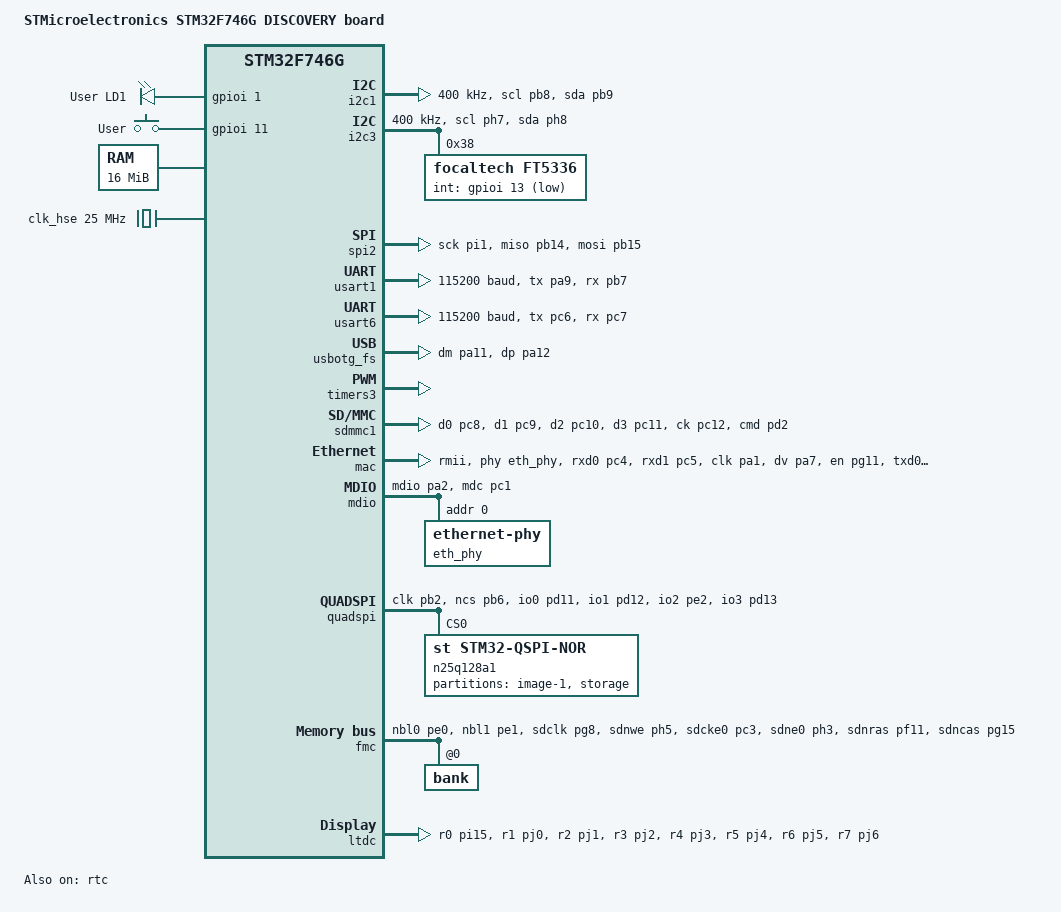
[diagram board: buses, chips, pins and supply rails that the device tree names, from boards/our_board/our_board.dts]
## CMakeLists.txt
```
cmake_minimum_required(VERSION 3.20.0)

list(APPEND BOARD_ROOT ${CMAKE_CURRENT_SOURCE_DIR})
find_package(Zephyr REQUIRED)
project(my_zephyr_app)

target_include_directories(app PRIVATE ${CMAKE_CURRENT_SOURCE_DIR}/include)

target_sources(app PRIVATE src/main.cpp)
add_subdirectory(drivers/our_driver)
```

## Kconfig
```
menuconfig APP_HEARTBEAT_PERIOD_MS
    int "Heartbeat LED"
    range 100 2000
    default 2000


source "Kconfig.zephyr"

rsource "drivers/our_driver/Kconfig"
```

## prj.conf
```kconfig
CONFIG_GPIO=y
CONFIG_LOG=y
CONFIG_OUR_DRIVER=y
CONFIG_SHELL=y
```

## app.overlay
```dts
/{

    aliases 
    { 
        app-led = &green_led_1; // using stm32f746g_disco board
    };

    our_driver0: our_driver 
    {
        compatible = "our,driver";
        status = "okay"; // using stm32f746g_disco board
        led-gpios = <&gpioi 1 GPIO_ACTIVE_HIGH>;    
    };

};
```

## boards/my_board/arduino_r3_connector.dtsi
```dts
/*
 * Copyright (c) 2020 Marco Peter
 *
 * SPDX-License-Identifier: Apache-2.0
 */

#include <zephyr/dt-bindings/gpio/arduino-header-r3.h>

/ {
	arduino_header: connector {
		compatible = "arduino-header-r3";
		#gpio-cells = <2>;
		gpio-map-mask = <0xffffffff 0xffffffc0>;
		gpio-map-pass-thru = <0 0x3f>;
		gpio-map = <ARDUINO_HEADER_R3_A0 0 &gpioa 0 0>,
			   <ARDUINO_HEADER_R3_A1 0 &gpiof 10 0>,
			   <ARDUINO_HEADER_R3_A2 0 &gpiof 9 0>,
			   <ARDUINO_HEADER_R3_A3 0 &gpiof 8 0>,
			   <ARDUINO_HEADER_R3_A4 0 &gpiof 7 0>,
			   <ARDUINO_HEADER_R3_A5 0 &gpiof 6 0>,
			   <ARDUINO_HEADER_R3_D0 0 &gpioc 7 0>,
			   <ARDUINO_HEADER_R3_D1 0 &gpioc 6 0>,
			   <ARDUINO_HEADER_R3_D2 0 &gpiog 6 0>,
			   <ARDUINO_HEADER_R3_D3 0 &gpiob 4 0>,
			   <ARDUINO_HEADER_R3_D4 0 &gpiog 7 0>,
			   <ARDUINO_HEADER_R3_D5 0 &gpioi 0 0>,
			   <ARDUINO_HEADER_R3_D6 0 &gpioh 6 0>,
			   <ARDUINO_HEADER_R3_D7 0 &gpioi 3 0>,
			   <ARDUINO_HEADER_R3_D8 0 &gpioi 2 0>,
			   <ARDUINO_HEADER_R3_D9 0 &gpioa 15 0>,
			   <ARDUINO_HEADER_R3_D10 0 &gpioa 8 0>,
			   <ARDUINO_HEADER_R3_D11 0 &gpiob 15 0>,
			   <ARDUINO_HEADER_R3_D12 0 &gpiob 14 0>,
			   <ARDUINO_HEADER_R3_D13 0 &gpioi 1 0>,
			   <ARDUINO_HEADER_R3_D14 0 &gpiob 9 0>,
			   <ARDUINO_HEADER_R3_D15 0 &gpiob 8 0>;
	};
};

// arduino_i2c: &i2c1 {};

// arduino_spi: &spi2 {};

arduino_serial: &usart6 {};
```

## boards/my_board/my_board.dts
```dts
/dts-v1/;
#include <st/f7/stm32f746Xg.dtsi>
#include <st/f7/stm32f746nghx-pinctrl.dtsi>
#include "arduino_r3_connector.dtsi"

/{
	model = "My board";
	compatible = "iomico,my_board";

	chosen {
		zephyr,console = &usart1;
		zephyr,sram = &sram0;
		zephyr,flash = &flash0;
		zephyr,flash-controller = &n25q128a1;


	};

	leds {
		compatible = "gpio-leds";

		green_led_1: led_1 {
			gpios = <&gpioi 1 GPIO_ACTIVE_HIGH>;
			label = "User LD1";
		};
	};

	aliases {
		led0 = &green_led_1;
	};

};


&usart1 {
	pinctrl-0 = <&usart1_tx_pa9 &usart1_rx_pb7>;
	pinctrl-names = "default";
	current-speed = <115200>;
	status = "okay";
};

&clk_hse {
	clock-frequency = <DT_FREQ_M(25)>;
	status = "okay";
};

&pll {
	div-m = <25>;
	mul-n = <432>;
	div-p = <2>;
	div-q = <9>;
	clocks = <&clk_hse>;
	status = "okay";
};

&rcc {
	clocks = <&pll>;
	clock-frequency = <DT_FREQ_M(216)>;
	ahb-prescaler = <1>;
	apb1-prescaler = <4>;
	apb2-prescaler = <2>;
};

&quadspi {
	pinctrl-0 = <&quadspi_clk_pb2 &quadspi_bk1_ncs_pb6
		     &quadspi_bk1_io0_pd11 &quadspi_bk1_io1_pd12
		     &quadspi_bk1_io2_pe2 &quadspi_bk1_io3_pd13>;
	pinctrl-names = "default";
	status = "okay";

	n25q128a1: qspi-nor-flash@0 {
		compatible = "st,stm32-qspi-nor";
		reg = <0>;
		size = <DT_SIZE_M(128)>; /* 128 Mbits */
		qspi-max-frequency = <72000000>;
		cs-high-time = <4>; /* >= 50 ns */
		status = "okay";

		partitions {
			compatible = "fixed-partitions";
			#address-cells = <1>;
			#size-cells = <1>;

			slot1_partition: partition@0 {
				label = "image-1";
				reg = <0x00000000 DT_SIZE_K(640)>;
			};

			storage_partition: partition@a0000 {
				label = "storage";
				reg = <0x000a0000 DT_SIZE_M(15)>;
			};
		};
	};
};
```

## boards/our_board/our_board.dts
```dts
/*
 * Copyright (c) 2018 Yurii Hamann
 *
 * SPDX-License-Identifier: Apache-2.0
 */

/dts-v1/;
#include <st/f7/stm32f746Xg.dtsi>
#include <st/f7/stm32f746nghx-pinctrl.dtsi>
#include "arduino_r3_connector.dtsi"
#include <zephyr/dt-bindings/input/input-event-codes.h>
#include <zephyr/dt-bindings/memory-attr/memory-attr.h>
#include <zephyr/dt-bindings/memory-attr/memory-attr-arm.h>

/ {
	model = "STMicroelectronics STM32F746G DISCOVERY board";
	compatible = "st,stm32f746g-disco";

	chosen {
		zephyr,console = &usart1;
		zephyr,shell-uart = &usart1;
		zephyr,sram = &sram0;
		zephyr,flash = &flash0;
		zephyr,dtcm = &dtcm;
		zephyr,flash-controller = &n25q128a1;
		zephyr,display = &ltdc;
		zephyr,touch = &ft5336;
	};

	leds {
		compatible = "gpio-leds";

		green_led_1: led_1 {
			gpios = <&gpioi 1 GPIO_ACTIVE_HIGH>;
			label = "User LD1";
		};
	};

	gpio_keys {
		compatible = "gpio-keys";

		user_button: button {
			label = "User";
			gpios = <&gpioi 11 GPIO_ACTIVE_HIGH>;
			zephyr,code = <INPUT_KEY_0>;
		};
	};

	sdram1: sdram@c0000000 {
		compatible = "zephyr,memory-region", "mmio-sram";
		device_type = "memory";
		reg = <0xc0000000 DT_SIZE_M(8)>;
		zephyr,memory-region = "SDRAM1";
		zephyr,memory-attr = <DT_MEM_ARM(ATTR_MPU_RAM)>;
	};

	/* Declare attributes for the External flash Mem to allow code execution there */
	ext_memory: memory@90000000 {
		compatible = "zephyr,memory-region";
		reg = <0x90000000 DT_SIZE_M(16)>; /* max addressable area */
		zephyr,memory-region = "EXTMEM";
		/* Override ATTR_MPU_EXTMEM with ATTR_MPU_IO to allow access */
		zephyr,memory-attr = <DT_MEM_ARM(ATTR_MPU_IO)>;
	};

	aliases {
		led0 = &green_led_1;
		sw0 = &user_button;
	};
};

&clk_lsi {
	status = "okay";
};

&clk_hse {
	clock-frequency = <DT_FREQ_M(25)>;
	status = "okay";
};

&pll {
	div-m = <25>;
	mul-n = <432>;
	div-p = <2>;
	div-q = <9>;
	clocks = <&clk_hse>;
	status = "okay";
};

&pllsai {
	div-m = <25>;
	mul-n = <384>;
	div-r = <5>;
	// post-div-r = <8>;
	div-divr = <8>;
	clocks = <&clk_hse>;
	status = "okay";
};

&rcc {
	clocks = <&pll>;
	clock-frequency = <DT_FREQ_M(216)>;
	ahb-prescaler = <1>;
	apb1-prescaler = <4>;
	apb2-prescaler = <2>;
};

&i2c1 {
	pinctrl-0 = <&i2c1_scl_pb8 &i2c1_sda_pb9>;
	pinctrl-names = "default";
	status = "okay";
	clock-frequency = <I2C_BITRATE_FAST>;
};

&i2c3 {
	pinctrl-0 = <&i2c3_scl_ph7 &i2c3_sda_ph8>;
	pinctrl-names = "default";
	status = "okay";
	clock-frequency = <I2C_BITRATE_FAST>;

	ft5336: ft5336@38 {
		compatible = "focaltech,ft5336";
		reg = <0x38>;
		int-gpios = <&gpioi 13 GPIO_ACTIVE_LOW>;
	};
};

&spi2 {
	pinctrl-0 = <&spi2_sck_pi1 &spi2_miso_pb14 &spi2_mosi_pb15>;
	pinctrl-names = "default";
	cs-gpios = <&gpioa 8 (GPIO_ACTIVE_LOW | GPIO_PULL_UP)>;
	status = "okay";
};

&usart1 {
	pinctrl-0 = <&usart1_tx_pa9 &usart1_rx_pb7>;
	pinctrl-names = "default";
	current-speed = <115200>;
	status = "okay";
};

&usart6 {
	pinctrl-0 = <&usart6_tx_pc6 &usart6_rx_pc7>;
	pinctrl-names = "default";
	current-speed = <115200>;
	status = "okay";
};

zephyr_udc0: &usbotg_fs {
	pinctrl-0 = <&usb_otg_fs_dm_pa11 &usb_otg_fs_dp_pa12>;
	pinctrl-names = "default";
	status = "okay";
};

&timers3 {
	st,prescaler = <10000>;
	status = "okay";

	pwm3: pwm {
		status = "okay";
		pinctrl-0 = <&tim3_ch1_pb4>;
		pinctrl-names = "default";
	};
};

&rtc {
	clocks = <&rcc STM32_CLOCK(APB1, 28)>,
		 <&rcc STM32_SRC_LSI RTC_SEL(2)>;
	status = "okay";

	backup_regs {
		status = "okay";
	};
};

&sdmmc1 {
	status = "okay";
	pinctrl-0 = <&sdmmc1_d0_pc8 &sdmmc1_d1_pc9
		     &sdmmc1_d2_pc10 &sdmmc1_d3_pc11
		     &sdmmc1_ck_pc12 &sdmmc1_cmd_pd2>;
	pinctrl-names = "default";
	cd-gpios = <&gpioc 13 GPIO_ACTIVE_LOW>;
	disk-name = "SD";
};

&mac {
	status = "okay";
	pinctrl-0 = <&eth_rxd0_pc4
		     &eth_rxd1_pc5
		     &eth_ref_clk_pa1
		     &eth_crs_dv_pa7
		     &eth_tx_en_pg11
		     &eth_txd0_pg13
		     &eth_txd1_pg14>;
	pinctrl-names = "default";
	phy-connection-type = "rmii";
	phy-handle = <&eth_phy>;
};

&mdio {
	status = "okay";
	pinctrl-0 = <&eth_mdio_pa2 &eth_mdc_pc1>;
	pinctrl-names = "default";

	eth_phy: ethernet-phy@0 {
		compatible = "ethernet-phy";
		reg = <0x00>;
	};
};

&quadspi {
	pinctrl-0 = <&quadspi_clk_pb2 &quadspi_bk1_ncs_pb6
		     &quadspi_bk1_io0_pd11 &quadspi_bk1_io1_pd12
		     &quadspi_bk1_io2_pe2 &quadspi_bk1_io3_pd13>;
	pinctrl-names = "default";
	status = "okay";

	n25q128a1: qspi-nor-flash@0 {
		compatible = "st,stm32-qspi-nor";
		reg = <0>;
		size = <DT_SIZE_M(128)>; /* 128 Mbits */
		qspi-max-frequency = <72000000>;
		cs-high-time = <4>; /* >= 50 ns */
		status = "okay";

		partitions {
			compatible = "fixed-partitions";
			#address-cells = <1>;
			#size-cells = <1>;

			slot1_partition: partition@0 {
				label = "image-1";
				reg = <0x00000000 DT_SIZE_K(640)>;
			};

			storage_partition: partition@a0000 {
				label = "storage";
				reg = <0x000a0000 DT_SIZE_M(15)>;
			};
		};
	};
};

&fmc {
	pinctrl-0 = <&fmc_nbl0_pe0 &fmc_nbl1_pe1
		     &fmc_sdclk_pg8 &fmc_sdnwe_ph5 &fmc_sdcke0_pc3
		     &fmc_sdne0_ph3 &fmc_sdnras_pf11 &fmc_sdncas_pg15
		     &fmc_a0_pf0 &fmc_a1_pf1 &fmc_a2_pf2 &fmc_a3_pf3 &fmc_a4_pf4
		     &fmc_a5_pf5 &fmc_a6_pf12 &fmc_a7_pf13 &fmc_a8_pf14
		     &fmc_a9_pf15 &fmc_a10_pg0 &fmc_a11_pg1
		     &fmc_a14_pg4 &fmc_a15_pg5 &fmc_d0_pd14 &fmc_d1_pd15
		     &fmc_d2_pd0 &fmc_d3_pd1 &fmc_d4_pe7 &fmc_d5_pe8 &fmc_d6_pe9
		     &fmc_d7_pe10 &fmc_d8_pe11 &fmc_d9_pe12 &fmc_d10_pe13
		     &fmc_d11_pe14 &fmc_d12_pe15 &fmc_d13_pd8 &fmc_d14_pd9
		     &fmc_d15_pd10>;
	pinctrl-names = "default";
	status = "okay";

	sdram {
		status = "okay";
		power-up-delay = <100>;
		num-auto-refresh = <8>;
		mode-register = <0x220>;
		/*
		 * Auto refresh command shall be issued every 15.625 us
		 * and is calculated as ((15.625 * SDRAM_CLK_MHZ) - 20)
		 * Note: SDRAM_CLK_MHZ = HCLK_MHZ / 2 (108 MHz)
		 */
		refresh-rate = <1667>;

		bank@0 {
			reg = <0>;
			st,sdram-control = <STM32_FMC_SDRAM_NC_8
					    STM32_FMC_SDRAM_NR_12
					    STM32_FMC_SDRAM_MWID_16
					    STM32_FMC_SDRAM_NB_4
					    STM32_FMC_SDRAM_CAS_2
					    STM32_FMC_SDRAM_SDCLK_PERIOD_2
					    STM32_FMC_SDRAM_RBURST_ENABLE
					    STM32_FMC_SDRAM_RPIPE_0>;
			st,sdram-timing = <2 6 4 6 2 2 2>;
		};
	};
};

&ltdc {
	pinctrl-0 = <&ltdc_r0_pi15 &ltdc_r1_pj0 &ltdc_r2_pj1 &ltdc_r3_pj2
		     &ltdc_r4_pj3 &ltdc_r5_pj4 &ltdc_r6_pj5 &ltdc_r7_pj6
		     &ltdc_g0_pj7 &ltdc_g1_pj8 &ltdc_g2_pj9 &ltdc_g3_pj10
		     &ltdc_g4_pj11 &ltdc_g5_pk0 &ltdc_g6_pk1 &ltdc_g7_pk2
		     &ltdc_b0_pe4 &ltdc_b1_pj13 &ltdc_b2_pj14 &ltdc_b3_pj15
		     &ltdc_b4_pg12 &ltdc_b5_pk4 &ltdc_b6_pk5 &ltdc_b7_pk6
		     &ltdc_de_pk7 &ltdc_clk_pi14 &ltdc_hsync_pi10 &ltdc_vsync_pi9>;
	pinctrl-names = "default";
	disp-on-gpios = <&gpioi 12 GPIO_ACTIVE_HIGH>;
	bl-ctrl-gpios = <&gpiok 3 GPIO_ACTIVE_HIGH>;
	ext-sdram = <&sdram1>;
	status = "okay";

	width = <480>;
	height = <272>;
	pixel-format = <PANEL_PIXEL_FORMAT_RGB_888>;

	display-timings {
		compatible = "zephyr,panel-timing";
		de-active = <0>;
		pixelclk-active = <0>;
		hsync-active = <0>;
		vsync-active = <0>;
		hsync-len = <1>;
		vsync-len = <10>;
		hback-porch = <43>;
		vback-porch = <12>;
		hfront-porch = <8>;
		vfront-porch = <4>;
	};

	def-back-color-red = <0xff>;
	def-back-color-green = <0xff>;
	def-back-color-blue = <0xff>;
};
```

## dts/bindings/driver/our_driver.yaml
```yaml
description: Our Sensor Driver
compatible: "our,driver"
include: base.yaml
properties:
  led-gpios:
    type: phandle-array
    required: true
    description: |
      GPIO for the driver LED.
```

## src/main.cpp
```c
/*
 * Copyright (c) 2016 Intel Corporation
 *
 * SPDX-License-Identifier: Apache-2.0
 */

#include <stdio.h>
#include <zephyr/kernel.h>
#include <zephyr/drivers/gpio.h>
#include <zephyr/logging/log.h>
#include <zephyr/drivers/sensor.h>
#include <our_driver/our_driver.h>

/* 1000 msec = 1 sec */
int delay = CONFIG_APP_HEARTBEAT_PERIOD_MS;

/* The devicetree node identifier for the "led0" alias. */
#define APP_LED DT_ALIAS(app_led)
const struct device* driver = DEVICE_DT_GET(DT_NODELABEL(our_driver0));

/*
 * A build error on this line means your board is unsupported.
 * See the sample documentation for information on how to fix this.
 */
static const struct gpio_dt_spec led = GPIO_DT_SPEC_GET(APP_LED, gpios);

LOG_MODULE_REGISTER(main, LOG_LEVEL_INF);

void test()
{
	struct sensor_value val;
	int ret = sensor_channel_get(driver, SENSOR_CHAN_AMBIENT_TEMP, &val);
	ret = sensor_sample_fetch(driver);
	our_driver_calibrate(driver);
	// LOG_INF("Channel ret %d", ret);   
}


int main(void)
{
	// int ret;
	// test();


	while (1) {
		test();
		// sensor_sample_fetch(driver);
		// printf("LED state: %s\n", led_state ? "ON" : "OFF");
		k_msleep(delay);
	}
	return 0;
}
```
